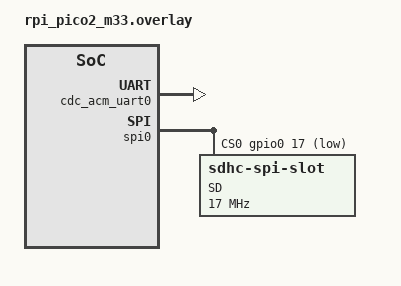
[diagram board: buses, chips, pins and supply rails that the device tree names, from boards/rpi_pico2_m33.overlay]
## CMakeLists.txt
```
#-------------------------------------------------------------------------------
# Telemetry prototype
#
# Copyright (c) 2024 Auxspace e.V.
# SPDX-License-Identifier: Apache-2.0

cmake_minimum_required(VERSION 3.13.1)
find_package(Zephyr REQUIRED HINTS $ENV{ZEPHYR_BASE})

project(telemetry_prototype LANGUAGES C)

FILE(GLOB app_sources src/*.c)
target_sources(app PRIVATE ${app_sources})
```

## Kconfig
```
# Copyright (c) 2024 Auxspace e.V.
# SPDX-License-Identifier: Apache-2.0
#
# This file is the application Kconfig entry point. All application Kconfig
# options can be defined here or included via other application Kconfig files.
# You can browse these options using the west targets menuconfig (terminal) or
# guiconfig (GUI).

menu "Zephyr"
source "Kconfig.zephyr"
endmenu

module = TELEMETRY_PROT
module-str = TELEMETRY_PROT
source "subsys/logging/Kconfig.template.log_config"

config STORAGE_SDCARD
	bool "Support for sdcard storage"
	help
	  This option enables functionality for data storage (SD Card)

config USB_SERIAL
	bool "Support for USB serial console"
	help
	  This option enables functionality for a serial console via USB.
```

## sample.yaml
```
sample:
  name: Telemetry Prototype
common:
  tags: filesystem
  modules:
    - fatfs
tests:
  sample.filesystem.fat_fs:
    depends_on: sdhc
    harness: console
    harness_config:
      fixture: fixture_sdhc
      type: multi_line
      regex:
        - "Block count"
        - "Sector size"
        - "Memory Size"
        - "Disk mounted"
  sample.filesystem.fat_fs.rpi_pico2_m33:
    build_only: true
    platform_allow: rpi_pico2/rp2350a/m33
    extra_args:
      - EXTRA_CONF_FILE=boards/rpi_pico2_m33.conf
      - DTC_OVERLAY_FILE=boards/rpi_pico2_m33.overlay
  sample.filesystem.fat_fs.has_sdmmc_disk:
    build_only: true
    filter: dt_compat_enabled("zephyr,sdmmc-disk")
    integration_platforms:
      - rpi_pico2_m33

tests:
  weather_station.default: {}
  weather_station.debug:
    extra_overlay_confs:
      - debug.conf
```

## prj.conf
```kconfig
# Copyright (c) 2024 Auxspace e.V.
# SPDX-License-Identifier: Apache-2.0
#
# This file contains selected Kconfig options for the application.

CONFIG_DISK_ACCESS=y
CONFIG_LOG=y
CONFIG_FILE_SYSTEM=y
CONFIG_FAT_FILESYSTEM_ELM=y
CONFIG_PRINTK=y
CONFIG_MAIN_STACK_SIZE=2048
```

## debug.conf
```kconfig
# Copyright (c) 2021 Nordic Semiconductor ASA
# SPDX-License-Identifier: Apache-2.0
#
# This is a Kconfig fragment which can be used to enable debug-related options
# in the application. See the README for more details.

# compiler
CONFIG_DEBUG_OPTIMIZATIONS=y

# logging
CONFIG_LOG=y
CONFIG_TELEMETRY_PROT_LOG_LEVEL_DBG=y
```

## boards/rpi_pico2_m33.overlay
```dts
/*
 * Copyright (c) 2024 Auxspace e.V.
 * SPDX-License-Identifier: Apache-2.0
 */

/ {
    chosen {
        zephyr,console = &cdc_acm_uart0;
    };
};

&zephyr_udc0 {
    cdc_acm_uart0: cdc_acm_uart0 {
        compatible = "zephyr,cdc-acm-uart";
        label = "CDC_ACM_0";
    };
};

&spi0 {
    status = "okay";
    cs-gpios = <&gpio0 17 GPIO_ACTIVE_LOW>;

	sdhc0: sdhc@0 {
		compatible = "zephyr,sdhc-spi-slot";
		reg = <0>;
		status = "okay";
		label = "SD";
		mmc {
			compatible = "zephyr,sdmmc-disk";
			status = "okay";
		};
		spi-max-frequency = <17000000>;
	};
};

&gpio0 {
	status = "okay";
};
```

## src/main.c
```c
/*
 * Copyright (c) 2024 Auxspace e.V.
 * SPDX-License-Identifier: Apache-2.0
 */

#include <zephyr/kernel.h>
#include <zephyr/logging/log.h>

#include <app_version.h>

#if defined(CONFIG_STORAGE_SDCARD)
#include "sdcard.h"
#endif /* CONFIG_STORAGE_SDCARD */

#if defined(CONFIG_USB_SERIAL)
#include "usb_serial.h"
#endif /* CONFIG_USB_SERIAL */


LOG_MODULE_REGISTER(main, CONFIG_TELEMETRY_PROT_LOG_LEVEL);

#define BLINK_PERIOD_MS_STEP 100U
#define BLINK_PERIOD_MS_MAX  1000U

int main(void)
{
	int ret;

#if defined(CONFIG_USB_SERIAL)
	ret = init_usb_serial();
	if (ret) {
		LOG_ERR("Could not initialize USB Serial (%d)", ret);
		return 1;
	}
#endif /* CONFIG_USB_SERIAL */

	printk("Zephyr Weather Station %s\n", APP_VERSION_STRING);

#if defined(CONFIG_STORAGE_SDCARD)
	ret = init_sd();
	if (ret) {
		LOG_ERR("Could not initialize SD card (%d)", ret);
		return 1;
	}
#endif /* CONFIG_STORAGE_SDCARD */

	printk("Telemetry prototype exiting.\n");
	return 0;
}
```

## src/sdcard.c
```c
#include <zephyr/device.h>
#include <zephyr/storage/disk_access.h>
#include <zephyr/fs/fs.h>
#include <zephyr/logging/log.h>

#include "sdcard.h"

LOG_MODULE_REGISTER(sdcard, CONFIG_TELEMETRY_PROT_LOG_LEVEL);

static FATFS fat_fs;
/* mounting info */
static struct fs_mount_t mp = {
	.type = FS_FATFS,
	.fs_data = &fat_fs,
};

static const char *disk_mount_pt = DISK_MOUNT_PT;


/* List dir entry by path
 *
 * @param path Absolute path to list
 *
 * @return Negative errno code on error, number of listed entries on
 *         success.
 */
static int lsdir(const char *path)
{
	int res;
	struct fs_dir_t dirp;
	static struct fs_dirent entry;
	int count = 0;

	fs_dir_t_init(&dirp);

	/* Verify fs_opendir() */
	res = fs_opendir(&dirp, path);
	if (res) {
		LOG_ERR("Error opening dir %s [%d]\n", path, res);
		return res;
	}

	printk("\nListing dir %s ...\n", path);
	for (;;) {
		/* Verify fs_readdir() */
		res = fs_readdir(&dirp, &entry);

		/* entry.name[0] == 0 means end-of-dir */
		if (res || entry.name[0] == 0) {
			break;
		}

		if (entry.type == FS_DIR_ENTRY_DIR) {
			printk("[DIR ] %s\n", entry.name);
		} else {
			printk("[FILE] %s (size = %zu)\n",
				entry.name, entry.size);
		}
		count++;
	}

	/* Verify fs_closedir() */
	fs_closedir(&dirp);
	if (res == 0) {
		res = count;
	}

	return res;
}

int init_sd()
{
    /* raw disk i/o */
	do {
		static const char *disk_pdrv = DISK_DRIVE_NAME;
		uint64_t memory_size_mb;
		uint32_t block_count;
		uint32_t block_size;

		if (disk_access_ioctl(disk_pdrv,
				DISK_IOCTL_CTRL_INIT, NULL) != 0) {
			LOG_ERR("Storage init ERROR!");
			break;
		}

		if (disk_access_ioctl(disk_pdrv,
				DISK_IOCTL_GET_SECTOR_COUNT, &block_count)) {
			LOG_ERR("Unable to get sector count");
			break;
		}
		LOG_INF("Block count %u", block_count);

		if (disk_access_ioctl(disk_pdrv,
				DISK_IOCTL_GET_SECTOR_SIZE, &block_size)) {
			LOG_ERR("Unable to get sector size");
			break;
		}
		printk("Sector size %u\n", block_size);

		memory_size_mb = (uint64_t)block_count * block_size;
		printk("Memory Size(MB) %u\n", (uint32_t)(memory_size_mb >> 20));

		if (disk_access_ioctl(disk_pdrv,
				DISK_IOCTL_CTRL_DEINIT, NULL) != 0) {
			LOG_ERR("Storage deinit ERROR!");
			break;
		}
	} while (0);

	mp.mnt_point = disk_mount_pt;

	int res = fs_mount(&mp);

	if (res == FS_RET_OK)
		printk("Disk mounted.\n");

	return lsdir(disk_mount_pt);
}
```

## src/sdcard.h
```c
#ifndef APP_IO_SDCARD_H_
#define APP_IO_SDCARD_H_

#include <zephyr/fs/fs.h>
#include <ff.h>

/*
 *  Note the fatfs library is able to mount only strings inside _VOLUME_STRS
 *  in ffconf.h
 */
#define DISK_DRIVE_NAME "SD"
#define DISK_MOUNT_PT "/"DISK_DRIVE_NAME":"

#define FS_RET_OK FR_OK

#define MAX_PATH 128
#define SOME_FILE_NAME "some.dat"
#define SOME_DIR_NAME "some"
#define SOME_REQUIRED_LEN MAX(sizeof(SOME_FILE_NAME), sizeof(SOME_DIR_NAME))

int init_sd();

#endif /* APP_IO_SDCARD_H_ */
```

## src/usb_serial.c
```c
#include <zephyr/kernel.h>
#include <zephyr/drivers/uart.h>
#include <zephyr/usb/usb_device.h>
#include <zephyr/sys/printk.h>
#include <zephyr/sys/util.h>

#include <string.h>

#include "usb_serial.h"

LOG_MODULE_REGISTER(usb_serial, CONFIG_TELEMETRY_PROT_LOG_LEVEL);

BUILD_ASSERT(DT_NODE_HAS_COMPAT(DT_CHOSEN(zephyr_console), zephyr_cdc_acm_uart),
						 "Console device is not ACM CDC UART device");

int init_usb_serial() {
    const struct device *usb_device = DEVICE_DT_GET(DT_CHOSEN(zephyr_console));
    uint32_t dtr = 0;

    if (usb_enable(NULL) != 0) {
        return 1;
    }

    while (!dtr) {
        uart_line_ctrl_get(usb_device, UART_LINE_CTRL_DTR, &dtr);
        k_sleep(K_MSEC(100));
    }

    return 0;
}
```

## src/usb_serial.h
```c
int init_usb_serial();
```
